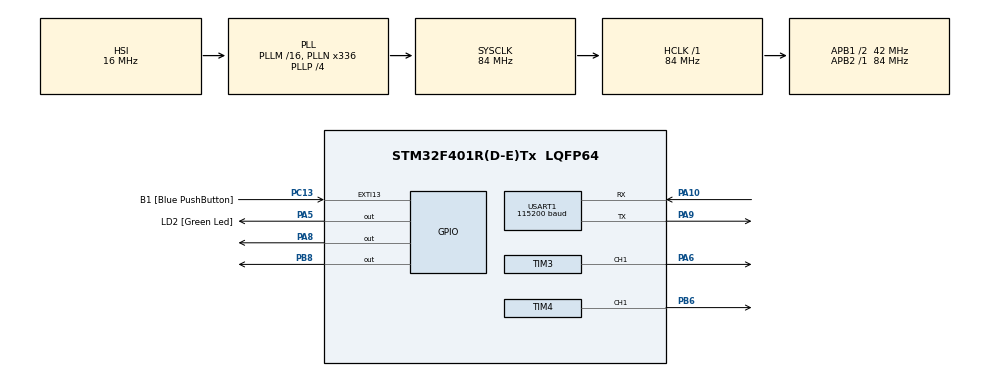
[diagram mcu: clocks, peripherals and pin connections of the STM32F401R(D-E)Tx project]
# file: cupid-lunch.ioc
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Mcu.Family=STM32F4
Mcu.Name=STM32F401R(D-E)Tx
Mcu.Package=LQFP64
NVIC.PriorityGroup=NVIC_PRIORITYGROUP_0
NVIC.TIM3_IRQn=true\:0\:0\:false\:false\:true\:true\:true\:true
NVIC.TIM4_IRQn=true\:0\:0\:false\:false\:true\:true\:true\:true
NVIC.USART1_IRQn=true\:0\:0\:false\:false\:true\:true\:true\:true
PA10.Mode=Asynchronous
PA10.Signal=USART1_RX
PA13.GPIO_Label=TMS
PA13.Mode=Serial_Wire
PA13.Signal=SYS_JTMS-SWDIO
PA14.GPIO_Label=TCK
PA14.Mode=Serial_Wire
PA14.Signal=SYS_JTCK-SWCLK
PA2.GPIO_Label=USART_TX
PA2.GPIO_Mode=GPIO_MODE_AF_PP
PA2.GPIO_PuPd=GPIO_NOPULL
PA2.GPIO_Speed=GPIO_SPEED_FREQ_LOW
PA2.Signal=USART2_TX
PA3.GPIO_Label=USART_RX
PA3.GPIO_Mode=GPIO_MODE_AF_PP
PA3.GPIO_PuPd=GPIO_NOPULL
PA3.GPIO_Speed=GPIO_SPEED_FREQ_LOW
PA3.Signal=USART2_RX
PA5.GPIO_Label=LD2 [Green Led]
PA5.GPIO_Mode=GPIO_MODE_OUTPUT_PP
PA5.GPIO_PuPd=GPIO_NOPULL
PA5.GPIO_Speed=GPIO_SPEED_FREQ_LOW
PA5.Signal=GPIO_Output
PA6.GPIO_PuPd=GPIO_PULLDOWN
PA6.Signal=S_TIM3_CH1
PA8.GPIO_PuPd=GPIO_PULLDOWN
PA8.Signal=GPIO_Output
PA9.Mode=Asynchronous
PA9.Signal=USART1_TX
PB3.GPIO_Label=SWO
PB3.Signal=SYS_JTDO-SWO
PB6.GPIO_PuPd=GPIO_PULLDOWN
PB6.Signal=S_TIM4_CH1
PB8.Signal=GPIO_Output
PC13-ANTI_TAMP.GPIO_Label=B1 [Blue PushButton]
PC13-ANTI_TAMP.GPIO_ModeDefaultEXTI=GPIO_MODE_IT_FALLING
PC13-ANTI_TAMP.GPIO_PuPd=GPIO_NOPULL
PC13-ANTI_TAMP.Signal=GPXTI13
PC14-OSC32_IN.Mode=LSE-External-Oscillator
PC14-OSC32_IN.Signal=RCC_OSC32_IN
PC15-OSC32_OUT.Mode=LSE-External-Oscillator
PC15-OSC32_OUT.Signal=RCC_OSC32_OUT
PH0\ -\ OSC_IN.Mode=HSE-External-Clock-Source
PH0\ -\ OSC_IN.Signal=RCC_OSC_IN
PH1\ -\ OSC_OUT.Mode=HSE-External-Clock-Source
PH1\ -\ OSC_OUT.Signal=RCC_OSC_OUT
ProjectManager.HeapSize=0x200
ProjectManager.StackSize=0x400
ProjectManager.TargetToolchain=STM32CubeIDE
RCC.48MHZClocksFreq_Value=48000000
RCC.AHBFreq_Value=84000000
RCC.APB1CLKDivider=RCC_HCLK_DIV2
RCC.APB1Freq_Value=42000000
RCC.APB1TimFreq_Value=84000000
RCC.APB2Freq_Value=84000000
RCC.APB2TimFreq_Value=84000000
RCC.CortexFreq_Value=84000000
RCC.HCLKFreq_Value=84000000
RCC.HSE_VALUE=8000000
RCC.HSI_VALUE=16000000
RCC.PLLN=336
RCC.PLLP=RCC_PLLP_DIV4
RCC.PLLQ=7
RCC.SYSCLKFreq_VALUE=84000000
RCC.SYSCLKSource=RCC_SYSCLKSOURCE_PLLCLK
RCC.VCOOutputFreq_Value=336000000
SH.S_TIM3_CH1.0=TIM3_CH1,PWM Generation1 CH1
SH.S_TIM4_CH1.0=TIM4_CH1,PWM Generation1 CH1
TIM3.AutoReloadPreload=TIM_AUTORELOAD_PRELOAD_DISABLE
TIM3.Channel-PWM\ Generation1\ CH1=TIM_CHANNEL_1
TIM3.Period=0
TIM3.Prescaler=42-1
TIM4.AutoReloadPreload=TIM_AUTORELOAD_PRELOAD_DISABLE
TIM4.Channel-PWM\ Generation1\ CH1=TIM_CHANNEL_1
TIM4.Period=0
TIM4.Prescaler=42-1
USART1.BaudRate=115200
USART1.VirtualMode=VM_ASYNC
VP_TIM3_VS_ClockSourceINT.Mode=Internal
VP_TIM4_VS_ClockSourceINT.Mode=Internal
VP_TIM5_VS_ClockSourceINT.Mode=Internal
board=NUCLEO-F401RE

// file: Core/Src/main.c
/* USER CODE BEGIN Header */
/**
  ******************************************************************************
  * @file           : main.c
  * @brief          : Main program body
  ******************************************************************************
  * @attention
  *
  * Copyright (c) 2024 STMicroelectronics.
  * All rights reserved.
  *
  * This software is licensed under terms that can be found in the LICENSE file
  * in the root directory of this software component.
  * If no LICENSE file comes with this software, it is provided AS-IS.
  *
  ******************************************************************************
  */
/* USER CODE END Header */
#include "main.h"

/* USER CODE BEGIN Includes */
#include "Stepper.h"
/* USER CODE END Includes */

TIM_HandleTypeDef htim3;
TIM_HandleTypeDef htim4;
TIM_HandleTypeDef htim5;

UART_HandleTypeDef huart1;

/* USER CODE BEGIN PV */
uint8_t rx_buffer[24];

// transmit 2 4byte data
uint8_t tx_buffer[8];
int32_t code = 0;
double speed_yaw = 0;
double speed_pitch = 0;
Stepper yaw;
Stepper pitch;
/* USER CODE END PV */

void SystemClock_Config(void);
static void MX_GPIO_Init(void);
static void MX_TIM3_Init(void);
static void MX_TIM4_Init(void);
static void MX_USART1_UART_Init(void);
static void MX_TIM5_Init(void);

int main(void)
{

  /* USER CODE BEGIN 1 */

	// receive 4 byte instruction + 4 byte yaw speed + 4 byte pitch speed

  /* USER CODE END 1 */

  /* MCU Configuration--------------------------------------------------------*/

  /* Reset of all peripherals, Initializes the Flash interface and the Systick. */
  HAL_Init();

  /* Configure the system clock */
  SystemClock_Config();

  /* Initialize all configured peripherals */
  MX_GPIO_Init();
  MX_TIM3_Init();
  MX_TIM4_Init();
  MX_USART1_UART_Init();
  MX_TIM5_Init();
  /* USER CODE BEGIN 2 */

	init_stepper(GPIOA,GPIO_PIN_8,&htim3,&yaw);

	init_stepper(GPIOB,GPIO_PIN_8,&htim4,&pitch);
	HAL_UART_Receive_IT(&huart1, rx_buffer, 24);
  /* USER CODE END 2 */

  /* Infinite loop */
  while (1)
  {

    /* USER CODE BEGIN 3 */
//	set_speed(5.0, &yaw);
//	set_speed(5.0, &pitch);

//	if(code == 0){
//		HAL_UART_Transmit(&huart2, &steps, 1, HAL_MAX_DELAY);
//
//	}
  }
  /* USER CODE END 3 */
}

void SystemClock_Config(void)
{
  RCC_OscInitTypeDef RCC_OscInitStruct = {0};
  RCC_ClkInitTypeDef RCC_ClkInitStruct = {0};

  /** Configure the main internal regulator output voltage
  */
  __HAL_RCC_PWR_CLK_ENABLE();
  __HAL_PWR_VOLTAGESCALING_CONFIG(PWR_REGULATOR_VOLTAGE_SCALE2);

  /** Initializes the RCC Oscillators according to the specified parameters
  * in the RCC_OscInitTypeDef structure.
  */
  RCC_OscInitStruct.OscillatorType = RCC_OSCILLATORTYPE_HSI;
  RCC_OscInitStruct.HSIState = RCC_HSI_ON;
  RCC_OscInitStruct.HSICalibrationValue = RCC_HSICALIBRATION_DEFAULT;
  RCC_OscInitStruct.PLL.PLLState = RCC_PLL_ON;
  RCC_OscInitStruct.PLL.PLLSource = RCC_PLLSOURCE_HSI;
  RCC_OscInitStruct.PLL.PLLM = 16;
  RCC_OscInitStruct.PLL.PLLN = 336;
  RCC_OscInitStruct.PLL.PLLP = RCC_PLLP_DIV4;
  RCC_OscInitStruct.PLL.PLLQ = 7;
  if (HAL_RCC_OscConfig(&RCC_OscInitStruct) != HAL_OK)
  {
    Error_Handler();
  }

  /** Initializes the CPU, AHB and APB buses clocks
  */
  RCC_ClkInitStruct.ClockType = RCC_CLOCKTYPE_HCLK|RCC_CLOCKTYPE_SYSCLK
                              |RCC_CLOCKTYPE_PCLK1|RCC_CLOCKTYPE_PCLK2;
  RCC_ClkInitStruct.SYSCLKSource = RCC_SYSCLKSOURCE_PLLCLK;
  RCC_ClkInitStruct.AHBCLKDivider = RCC_SYSCLK_DIV1;
  RCC_ClkInitStruct.APB1CLKDivider = RCC_HCLK_DIV2;
  RCC_ClkInitStruct.APB2CLKDivider = RCC_HCLK_DIV1;

  if (HAL_RCC_ClockConfig(&RCC_ClkInitStruct, FLASH_LATENCY_2) != HAL_OK)
  {
    Error_Handler();
  }
}

static void MX_TIM3_Init(void)
{

  TIM_ClockConfigTypeDef sClockSourceConfig = {0};
  TIM_MasterConfigTypeDef sMasterConfig = {0};
  TIM_OC_InitTypeDef sConfigOC = {0};

  htim3.Instance = TIM3;
  htim3.Init.Prescaler = 42-1;
  htim3.Init.CounterMode = TIM_COUNTERMODE_UP;
  htim3.Init.Period = 0;
  htim3.Init.ClockDivision = TIM_CLOCKDIVISION_DIV1;
  htim3.Init.AutoReloadPreload = TIM_AUTORELOAD_PRELOAD_DISABLE;
  if (HAL_TIM_Base_Init(&htim3) != HAL_OK)
  {
    Error_Handler();
  }
  sClockSourceConfig.ClockSource = TIM_CLOCKSOURCE_INTERNAL;
  if (HAL_TIM_ConfigClockSource(&htim3, &sClockSourceConfig) != HAL_OK)
  {
    Error_Handler();
  }
  if (HAL_TIM_PWM_Init(&htim3) != HAL_OK)
  {
    Error_Handler();
  }
  sMasterConfig.MasterOutputTrigger = TIM_TRGO_RESET;
  sMasterConfig.MasterSlaveMode = TIM_MASTERSLAVEMODE_DISABLE;
  if (HAL_TIMEx_MasterConfigSynchronization(&htim3, &sMasterConfig) != HAL_OK)
  {
    Error_Handler();
  }
  sConfigOC.OCMode = TIM_OCMODE_PWM1;
  sConfigOC.Pulse = 0;
  sConfigOC.OCPolarity = TIM_OCPOLARITY_HIGH;
  sConfigOC.OCFastMode = TIM_OCFAST_DISABLE;
  if (HAL_TIM_PWM_ConfigChannel(&htim3, &sConfigOC, TIM_CHANNEL_1) != HAL_OK)
  {
    Error_Handler();
  }
  HAL_TIM_MspPostInit(&htim3);

}

static void MX_TIM4_Init(void)
{

  TIM_ClockConfigTypeDef sClockSourceConfig = {0};
  TIM_MasterConfigTypeDef sMasterConfig = {0};
  TIM_OC_InitTypeDef sConfigOC = {0};

  htim4.Instance = TIM4;
  htim4.Init.Prescaler = 42-1;
  htim4.Init.CounterMode = TIM_COUNTERMODE_UP;
  htim4.Init.Period = 0;
  htim4.Init.ClockDivision = TIM_CLOCKDIVISION_DIV1;
  htim4.Init.AutoReloadPreload = TIM_AUTORELOAD_PRELOAD_DISABLE;
  if (HAL_TIM_Base_Init(&htim4) != HAL_OK)
  {
    Error_Handler();
  }
  sClockSourceConfig.ClockSource = TIM_CLOCKSOURCE_INTERNAL;
  if (HAL_TIM_ConfigClockSource(&htim4, &sClockSourceConfig) != HAL_OK)
  {
    Error_Handler();
  }
  if (HAL_TIM_PWM_Init(&htim4) != HAL_OK)
  {
    Error_Handler();
  }
  sMasterConfig.MasterOutputTrigger = TIM_TRGO_RESET;
  sMasterConfig.MasterSlaveMode = TIM_MASTERSLAVEMODE_DISABLE;
  if (HAL_TIMEx_MasterConfigSynchronization(&htim4, &sMasterConfig) != HAL_OK)
  {
    Error_Handler();
  }
  sConfigOC.OCMode = TIM_OCMODE_PWM1;
  sConfigOC.Pulse = 0;
  sConfigOC.OCPolarity = TIM_OCPOLARITY_HIGH;
  sConfigOC.OCFastMode = TIM_OCFAST_DISABLE;
  if (HAL_TIM_PWM_ConfigChannel(&htim4, &sConfigOC, TIM_CHANNEL_1) != HAL_OK)
  {
    Error_Handler();
  }
  HAL_TIM_MspPostInit(&htim4);

}

static void MX_TIM5_Init(void)
{

  TIM_ClockConfigTypeDef sClockSourceConfig = {0};
  TIM_MasterConfigTypeDef sMasterConfig = {0};

  htim5.Instance = TIM5;
  htim5.Init.Prescaler = 0;
  htim5.Init.CounterMode = TIM_COUNTERMODE_UP;
  htim5.Init.Period = 4294967295;
  htim5.Init.ClockDivision = TIM_CLOCKDIVISION_DIV1;
  htim5.Init.AutoReloadPreload = TIM_AUTORELOAD_PRELOAD_DISABLE;
  if (HAL_TIM_Base_Init(&htim5) != HAL_OK)
  {
    Error_Handler();
  }
  sClockSourceConfig.ClockSource = TIM_CLOCKSOURCE_INTERNAL;
  if (HAL_TIM_ConfigClockSource(&htim5, &sClockSourceConfig) != HAL_OK)
  {
    Error_Handler();
  }
  sMasterConfig.MasterOutputTrigger = TIM_TRGO_RESET;
  sMasterConfig.MasterSlaveMode = TIM_MASTERSLAVEMODE_DISABLE;
  if (HAL_TIMEx_MasterConfigSynchronization(&htim5, &sMasterConfig) != HAL_OK)
  {
    Error_Handler();
  }

}

static void MX_USART1_UART_Init(void)
{

  huart1.Instance = USART1;
  huart1.Init.BaudRate = 115200;
  huart1.Init.WordLength = UART_WORDLENGTH_8B;
  huart1.Init.StopBits = UART_STOPBITS_1;
  huart1.Init.Parity = UART_PARITY_NONE;
  huart1.Init.Mode = UART_MODE_TX_RX;
  huart1.Init.HwFlowCtl = UART_HWCONTROL_NONE;
  huart1.Init.OverSampling = UART_OVERSAMPLING_16;
  if (HAL_UART_Init(&huart1) != HAL_OK)
  {
    Error_Handler();
  }

}

static void MX_GPIO_Init(void)
{
  GPIO_InitTypeDef GPIO_InitStruct = {0};

  /* GPIO Ports Clock Enable */
  __HAL_RCC_GPIOC_CLK_ENABLE();
  __HAL_RCC_GPIOH_CLK_ENABLE();
  __HAL_RCC_GPIOA_CLK_ENABLE();
  __HAL_RCC_GPIOB_CLK_ENABLE();

  /*Configure GPIO pin Output Level */
  HAL_GPIO_WritePin(GPIOA, LD2_Pin|GPIO_PIN_8, GPIO_PIN_RESET);

  /*Configure GPIO pin Output Level */
  HAL_GPIO_WritePin(GPIOB, GPIO_PIN_8, GPIO_PIN_RESET);

  /*Configure GPIO pin : B1_Pin */
  GPIO_InitStruct.Pin = B1_Pin;
  GPIO_InitStruct.Mode = GPIO_MODE_IT_FALLING;
  GPIO_InitStruct.Pull = GPIO_NOPULL;
  HAL_GPIO_Init(B1_GPIO_Port, &GPIO_InitStruct);

  /*Configure GPIO pins : USART_TX_Pin USART_RX_Pin */
  GPIO_InitStruct.Pin = USART_TX_Pin|USART_RX_Pin;
  GPIO_InitStruct.Mode = GPIO_MODE_AF_PP;
  GPIO_InitStruct.Pull = GPIO_NOPULL;
  GPIO_InitStruct.Speed = GPIO_SPEED_FREQ_LOW;
  GPIO_InitStruct.Alternate = GPIO_AF7_USART2;
  HAL_GPIO_Init(GPIOA, &GPIO_InitStruct);

  /*Configure GPIO pin : LD2_Pin */
  GPIO_InitStruct.Pin = LD2_Pin;
  GPIO_InitStruct.Mode = GPIO_MODE_OUTPUT_PP;
  GPIO_InitStruct.Pull = GPIO_NOPULL;
  GPIO_InitStruct.Speed = GPIO_SPEED_FREQ_LOW;
  HAL_GPIO_Init(LD2_GPIO_Port, &GPIO_InitStruct);

  /*Configure GPIO pin : PA8 */
  GPIO_InitStruct.Pin = GPIO_PIN_8;
  GPIO_InitStruct.Mode = GPIO_MODE_OUTPUT_PP;
  GPIO_InitStruct.Pull = GPIO_PULLDOWN;
  GPIO_InitStruct.Speed = GPIO_SPEED_FREQ_LOW;
  HAL_GPIO_Init(GPIOA, &GPIO_InitStruct);

  /*Configure GPIO pin : PB8 */
  GPIO_InitStruct.Pin = GPIO_PIN_8;
  GPIO_InitStruct.Mode = GPIO_MODE_OUTPUT_PP;
  GPIO_InitStruct.Pull = GPIO_NOPULL;
  GPIO_InitStruct.Speed = GPIO_SPEED_FREQ_LOW;
  HAL_GPIO_Init(GPIOB, &GPIO_InitStruct);

}

/* USER CODE BEGIN 4 */

void HAL_UART_RxCpltCallback(UART_HandleTypeDef *huart)
{
    if (huart->Instance == USART1)  // Check if it's the correct UART
    {
        // Process the received data in rx_data
    	code = *((int32_t*)&rx_buffer[0]);     // First 4 byte
    	speed_yaw = *((double*)&rx_buffer[8]);    // Next 8 bytes (double)
    	speed_pitch = *((double*)&rx_buffer[16]);  // Last 8 bytes (double)
    	if(code == 8848){
    		set_speed(speed_yaw, &yaw);
    		set_speed(speed_pitch, &pitch);
    	}
    	if(code == 8964){
    		HAL_UART_Transmit(&huart1,(uint8_t*)&(yaw.step),sizeof(yaw.step),HAL_MAX_DELAY);
    	}
//         Optionally, restart reception for continuous data reception
        HAL_UART_Receive_IT(&huart1, rx_buffer, 24);
    }
}
/* USER CODE END 4 */

void Error_Handler(void)
{
  __disable_irq();
  while (1)
  {
  }
}
